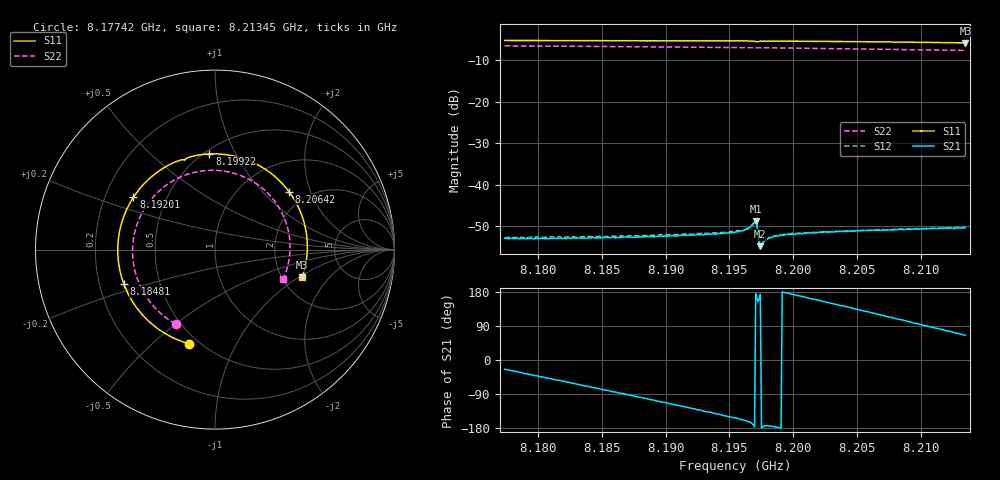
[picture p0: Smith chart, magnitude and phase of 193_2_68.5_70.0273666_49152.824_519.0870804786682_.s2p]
#  HZ  S  RI  R  50.00
! Rohde & Schwarz Vector Network Analyzer
! Rohde-Schwarz,ZNB20-2Port,1311601062101988,3.16
! Created: UTC 3/20/2024, 4:57:12 PM
! freq[Hz]  re:S11  im:S11  re:S21  im:S21  re:S12  im:S12  re:S22  im:S22
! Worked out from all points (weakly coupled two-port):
!   401 points, 8.17742 GHz to 8.21345 GHz, reference 50 ohm
!   highest |S21| = -48.79 dB at 8.19705 GHz (marker M1); lowest = -54.8 dB at 8.19741 GHz (marker M2)
!   lowest |S11| = -5.9 dB at 8.21345 GHz (marker M3), VSWR 3.07, Z = 128 - j53.3 ohm
!   |S11| at or under -10 dB: nowhere
!   |S22| runs from -7.7 to -6.6 dB; largest |S21 - S12| = 0.00019
!   S11 on the Smith chart (normalised r, x): 8.17742 GHz: 0.44, -0.66; 8.18481 GHz: 0.31, -0.17; 8.19201 GHz: 0.32, +0.27; 8.19922 GHz: 0.53, +0.79; 8.20642 GHz: 1.61, +1.44; 8.21345 GHz: 2.57, -1.07
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8.17742e9  -0.145 -0.5247  0.00206 -0.000932  0.0021 -0.000995  -0.2195 -0.4143
8.180302e9  -0.3228 -0.4377  0.00162 -0.00158  0.00166 -0.00166  -0.3449 -0.3128
8.183454e9  -0.4679 -0.2759  0.000919 -0.00209  0.000919 -0.00214  -0.433 -0.162
8.184805e9  -0.508 -0.1912  0.000572 -0.00222  0.000514 -0.00232  -0.4522 -0.0892
8.187147e9  -0.5411 -0.032  -0.000126 -0.00234  -0.00015 -0.00243  -0.4567 0.0402
8.189489e9  -0.5251 0.1306  -0.000779 -0.00225  -0.000849 -0.0023  -0.4248 0.1656
8.192011e9  -0.4543 0.2917  -0.00148 -0.00196  -0.00161 -0.00196  -0.3521 0.2847
8.195433e9  -0.282 0.4576  -0.00238 -0.00124  -0.00249 -0.00117  -0.2019 0.4001
8.196334e9  -0.2247 0.487  -0.00274 -0.000945  -0.00282 -0.000883  -0.155 0.4191
8.196965e9  -0.1792 0.5006  -0.00351 -0.000249  -0.00358 -7.31e-05  -0.1208 0.429
8.197055e9  -0.1724 0.4996  -0.00362 0.000299  -0.00366 0.000453  -0.1159 0.4302
8.197415e9  -0.1598 0.5081  -0.00181 0.000212  -0.00183 0.000301  -0.0964 0.4343
8.197505e9  -0.1532 0.5112  -0.00187 -1.62e-05  -0.00191 7.56e-05  -0.0914 0.4352
8.198135e9  -0.1079 0.5239  -0.00227 -0.000227  -0.00232 -0.000132  -0.0561 0.4402
8.199216e9  -0.0314 0.5331  -0.00246 5.77e-05  -0.00249 0.000193  0.00509 0.4417
8.201468e9  0.1264 0.516  -0.00248 0.000848  -0.00249 0.000922  0.1306 0.4176
8.2039e9  0.2828 0.4459  -0.00219 0.00168  -0.00211 0.00173  0.253 0.3508
8.206422e9  0.4121 0.3233  -0.00152 0.0024  -0.00143 0.00244  0.3517 0.2423
8.207503e9  0.4533 0.2585  -0.00113 0.00262  -0.00109 0.00265  0.3818 0.1861
8.209034e9  0.4944 0.1576  -0.000562 0.00285  -0.000467 0.00289  0.4098 0.0992
8.210475e9  0.5127 0.0564  1.91e-05 0.00294  7.9e-05 0.00298  0.4186 0.0127
8.213447e9  0.4855 -0.1536  0.00125 0.00277  0.0013 0.00276  0.3795 -0.1646
